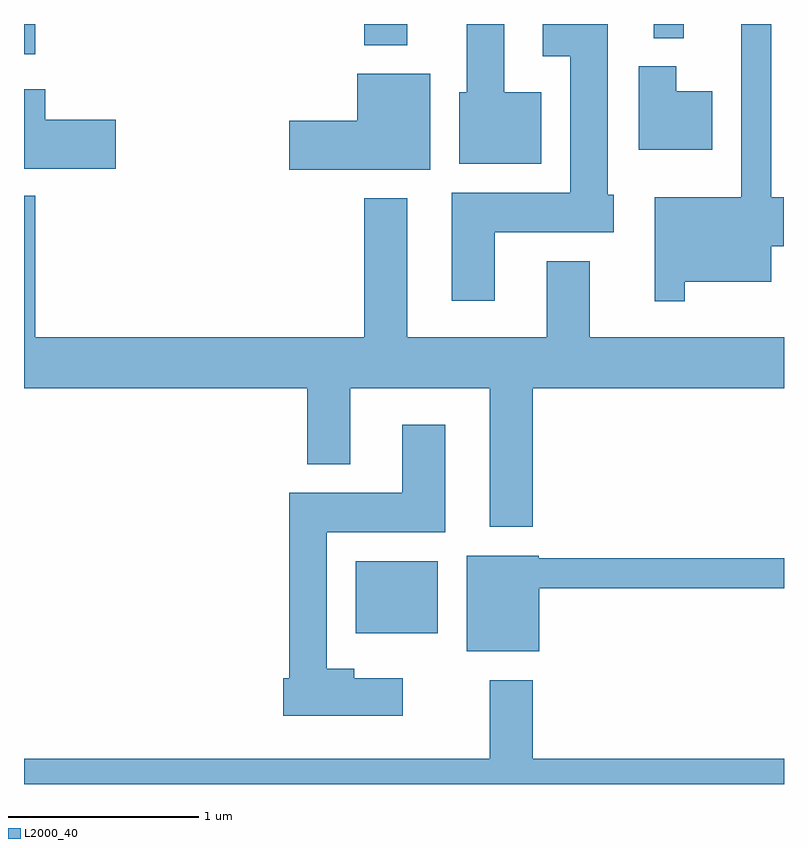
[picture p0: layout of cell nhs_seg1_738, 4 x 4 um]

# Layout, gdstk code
import gdstk
lib = gdstk.Library(unit=1e-6, precision=1e-09)
def R(c, l, rs):  # rectangles x0, y0, x1, y1
    for r in rs: c.add(gdstk.rectangle(r[:2], r[2:], *l))
def P(c, l, *ps):  # polygons
    for p in ps: c.add(gdstk.Polygon(p, *l))
L2000_40 = (2000, 40)

nhs_seg1_738 = lib.new_cell('nhs_seg1_738')
R(nhs_seg1_738, L2000_40, [(209.356,900.506,209.789,900.884), (207.611,903.553,207.669,903.712), (209.401,903.601,209.629,903.712), (210.926,903.638,211.084,903.712)])
P(nhs_seg1_738, L2000_40, [(210.089,902.616),(210.714,902.616),(210.714,902.814),(210.684,902.814),(210.684,903.712),(210.341,903.712),(210.341,903.541),(210.486,903.541),(210.486,902.824),(209.861,902.824),(209.861,902.256),(210.089,902.256)],
  [(211.089,902.356),(211.544,902.356),(211.544,902.541),(211.609,902.541),(211.609,902.799),(211.544,902.799),(211.544,903.712),(211.386,903.712),(211.386,902.799),(210.931,902.799),(210.931,902.253),(211.089,902.253)],
  [(210.334,903.354),(210.139,903.354),(210.139,903.712),(209.941,903.712),(209.941,903.354),(209.901,903.354),(209.901,902.976),(210.334,902.976)],
  [(211.234,903.359),(211.044,903.359),(211.044,903.489),(210.846,903.489),(210.846,903.051),(211.234,903.051)],
  [(209.749,903.449),(209.366,903.449),(209.366,903.204),(209.006,903.204),(209.006,902.946),(209.749,902.946)],
  [(208.094,903.209),(207.724,903.209),(207.724,903.369),(207.611,903.369),(207.611,902.951),(208.094,902.951)],
  [(210.289,901.796),(211.611,901.796),(211.611,902.064),(210.589,902.064),(210.589,902.464),(210.361,902.464),(210.361,902.064),(209.629,902.064),(209.629,902.794),(209.401,902.794),(209.401,902.064),(207.669,902.064),(207.669,902.808),(207.611,902.808),(207.611,901.796),(209.101,901.796),(209.101,901.396),(209.329,901.396),(209.329,901.796),(210.061,901.796),(210.061,901.066),(210.289,901.066)],
  [(209.604,900.269),(209.349,900.269),(209.349,900.319),(209.204,900.319),(209.204,901.036),(209.829,901.036),(209.829,901.604),(209.601,901.604),(209.601,901.244),(209.006,901.244),(209.006,900.269),(208.976,900.269),(208.976,900.071),(209.604,900.071)],
  [(210.324,900.741),(211.611,900.741),(211.611,900.899),(210.32,900.899),(210.32,900.914),(209.941,900.914),(209.941,900.411),(210.324,900.411)],
  [(211.611,899.844),(210.289,899.844),(210.289,900.259),(210.061,900.259),(210.061,899.844),(207.611,899.844),(207.611,899.712),(211.611,899.712)])

lib.write_gds('nhs_seg1_738.gds')
